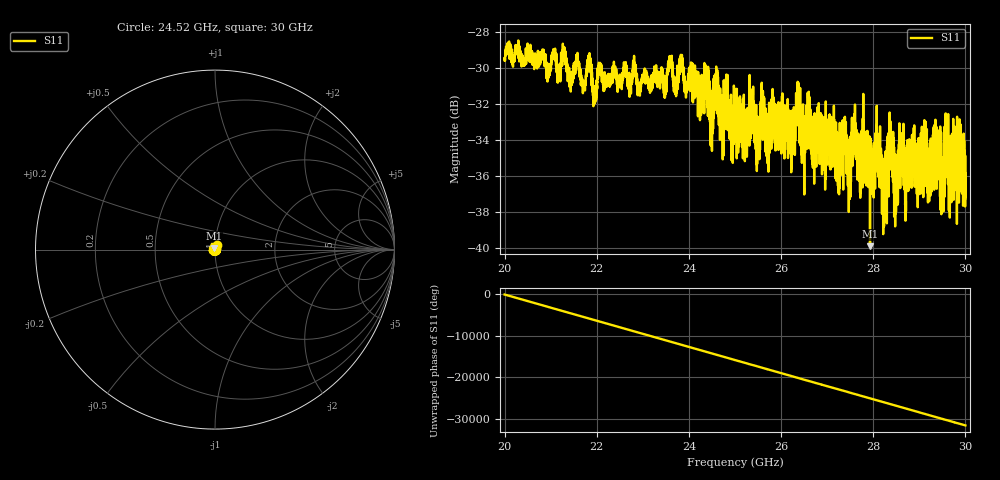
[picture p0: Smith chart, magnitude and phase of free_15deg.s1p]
#  HZ  S  RI  R  50.00
! Rohde & Schwarz ZVA40 4Ports - Version 3.90 - 1145.1110k42 SN: 100403
! Date: 2023-09-28 09:27:31
! Measurement: S12
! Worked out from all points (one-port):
!   5001 points, 20 GHz to 30 GHz, reference 50 ohm
!   lowest |S11| = -39.9 dB at 27.93 GHz (marker M1), VSWR 1.02, Z = 49.5 + j0.85 ohm
!   |S11| at or under -10 dB: start of sweep to end of sweep
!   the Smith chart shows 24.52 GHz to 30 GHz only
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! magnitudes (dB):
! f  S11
! 20 GHz  -29.5
! 21.25 GHz  -29.2
! 21.71 GHz  -31.1
! 21.83 GHz  -30.1
! 21.96 GHz  -31.2
! 22.07 GHz  -29.9
! 22.5 GHz  -30.5
! 23.75 GHz  -30.7
! 25 GHz  -32.8
! 26.25 GHz  -33.5
! 26.37 GHz  -31.0
! 26.47 GHz  -34.8
! 26.59 GHz  -32.8
! 27.25 GHz  -35.5
! 27.37 GHz  -33.7
! 27.5 GHz  -36.5
! 27.58 GHz  -34.8
! 27.93 GHz  -39.9
! 28.1 GHz  -34.7
! 28.25 GHz  -35.9
! 28.39 GHz  -34.0
! 28.49 GHz  -36.7
! 28.61 GHz  -34.0
! 28.75 GHz  -35.9
! 29.35 GHz  -34.9
! 29.5 GHz  -35.6
! 29.87 GHz  -35.7
! 30 GHz  -35.9
